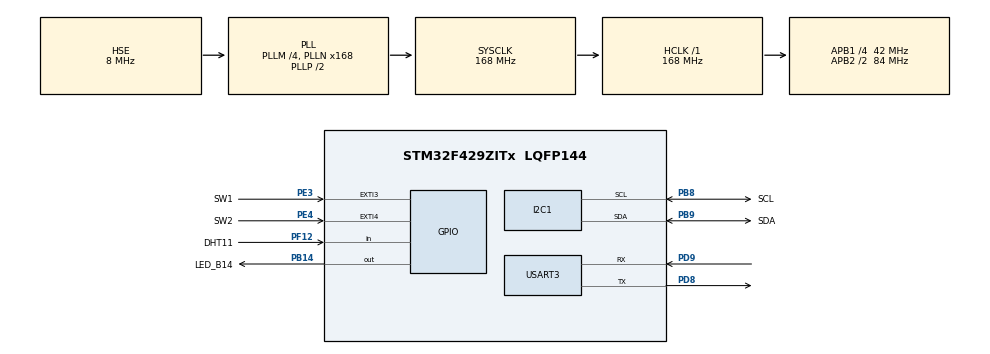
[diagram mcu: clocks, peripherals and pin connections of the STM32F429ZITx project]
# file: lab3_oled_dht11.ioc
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FREERTOS.Tasks01=defaultTask,24,128,StartDefaultTask,Default,NULL,Dynamic,NULL,NULL
I2C1.I2C_Mode=I2C_Fast
Mcu.Family=STM32F4
Mcu.Name=STM32F429ZITx
Mcu.Package=LQFP144
NVIC.EXTI3_IRQn=true\:5\:0\:false\:false\:true\:true\:true\:true\:true
NVIC.EXTI4_IRQn=true\:5\:0\:false\:false\:true\:true\:true\:true\:true
NVIC.PriorityGroup=NVIC_PRIORITYGROUP_4
NVIC.TIM1_UP_TIM10_IRQn=true\:15\:0\:false\:false\:true\:false\:false\:true\:true
NVIC.TimeBase=TIM1_UP_TIM10_IRQn
NVIC.TimeBaseIP=TIM1
PA13.Mode=Serial_Wire
PA13.Signal=SYS_JTMS-SWDIO
PA14.Mode=Serial_Wire
PA14.Signal=SYS_JTCK-SWCLK
PB14.GPIO_Label=LED_B14
PB14.Signal=GPIO_Output
PB8.GPIO_Label=SCL
PB8.Mode=I2C
PB8.Signal=I2C1_SCL
PB9.GPIO_Label=SDA
PB9.Mode=I2C
PB9.Signal=I2C1_SDA
PD8.Mode=Asynchronous
PD8.Signal=USART3_TX
PD9.Mode=Asynchronous
PD9.Signal=USART3_RX
PE3.GPIO_Label=SW1
PE3.Signal=GPXTI3
PE4.GPIO_Label=SW2
PE4.Signal=GPXTI4
PF12.GPIO_Label=DHT11
PF12.Signal=GPIO_Input
PH0/OSC_IN.Mode=HSE-External-Oscillator
PH0/OSC_IN.Signal=RCC_OSC_IN
PH1/OSC_OUT.Mode=HSE-External-Oscillator
PH1/OSC_OUT.Signal=RCC_OSC_OUT
ProjectManager.HeapSize=0x200
ProjectManager.StackSize=0x400
ProjectManager.TargetToolchain=MDK-ARM V5.32
RCC.48MHZClocksFreq_Value=48000000
RCC.AHBFreq_Value=168000000
RCC.APB1CLKDivider=RCC_HCLK_DIV4
RCC.APB1Freq_Value=42000000
RCC.APB1TimFreq_Value=84000000
RCC.APB2CLKDivider=RCC_HCLK_DIV2
RCC.APB2Freq_Value=84000000
RCC.APB2TimCLKDivider=2
RCC.APB2TimFreq_Value=168000000
RCC.CortexFreq_Value=168000000
RCC.HCLKFreq_Value=168000000
RCC.HSE_VALUE=8000000
RCC.HSI_VALUE=16000000
RCC.LSE_VALUE=32768
RCC.PLLM=4
RCC.PLLMUL=RCC_PLL_MUL9
RCC.PLLN=168
RCC.PLLQ=7
RCC.PLLSourceVirtual=RCC_PLLSOURCE_HSE
RCC.PRESCALERUSB=RCC_USBCLKSOURCE_PLL_DIV1_5
RCC.SYSCLKFreq_VALUE=168000000
RCC.SYSCLKSource=RCC_SYSCLKSOURCE_PLLCLK
RCC.SYSCLKSourceVirtual=RCC_SYSCLKSOURCE_PLLCLK
RCC.USBFreq_Value=48000000
RCC.VCOOutputFreq_Value=336000000
TIM2.Prescaler=83
USART3.VirtualMode=VM_ASYNC
VP_FREERTOS_VS_CMSIS_V2.Mode=CMSIS_V2
VP_SYS_VS_tim1.Mode=TIM1
VP_TIM2_VS_ClockSourceINT.Mode=Internal
board=NUCLEO-F429ZI

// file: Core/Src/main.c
/* USER CODE BEGIN Header */
/**
  ******************************************************************************
  * @file           : main.c
  * @brief          : Main program body
  ******************************************************************************
  * @attention
  *
  * Copyright (c) 2024 STMicroelectronics.
  * All rights reserved.
  *
  * This software is licensed under terms that can be found in the LICENSE file
  * in the root directory of this software component.
  * If no LICENSE file comes with this software, it is provided AS-IS.
  *
  ******************************************************************************
  */
/* USER CODE END Header */
#include "main.h"
#include "i2c.h"
#include "tim.h"
#include "usart.h"
#include "gpio.h"

/* USER CODE BEGIN Includes */
#include "FreeRTOS.h"
#include "queue.h"
#include "task.h"
#include "oled.h"
#include "u8g2.h"
#include "dht11.h"
#include "stdio.h"
/* USER CODE END Includes */

/* USER CODE BEGIN PV */
QueueHandle_t queueDHT11;

TaskHandle_t handleDHT11;
TaskHandle_t handleOLED;

u8g2_t u8g2;

struct dht11{
	float Temp;
	float Humi;
};

struct dht11 dht11DATA;
/* USER CODE END PV */

void SystemClock_Config(void);

/* USER CODE BEGIN 0 */
/**********************
receive data from queue
success -> pdPASS(1) -> update OLED
fail -> pdFAIL(0) -> taskYIELD();
**********************/
void taskOLED(void *pvParm){
	u8g2Init(&u8g2);
	u8g2_ClearBuffer(&u8g2);
	u8g2_ClearDisplay(&u8g2);
	u8g2_SetFont(&u8g2, u8g2_font_samim_16_t_all);
	char displayTemp[20];
	char displayHumi[20];
	while(1){

		BaseType_t dht11Receive = xQueueReceive(queueDHT11, &dht11DATA, NULL);
		if(dht11Receive == pdPASS){
			snprintf(displayTemp, sizeof(displayTemp), "Temp: %.1f C", dht11DATA.Temp);
			snprintf(displayHumi, sizeof(displayHumi), "Humi: %.1f %%", dht11DATA.Humi);
			u8g2_ClearBuffer(&u8g2);
			u8g2_DrawStr(&u8g2, 0, 20, displayTemp);
			u8g2_DrawStr(&u8g2, 0, 40, displayHumi);
			u8g2_SendBuffer(&u8g2);
			if(dht11DATA.Humi>=60){
				HAL_GPIO_WritePin(LED_PB7_GPIO_Port, LED_PB7_Pin, 1);
			}
			else{
				HAL_GPIO_WritePin(LED_PB7_GPIO_Port, LED_PB7_Pin, 0);
			}
		}else{
			taskYIELD();
		}

		vTaskDelay(100);
	}
}

/***************
return from DHT11GetData(&temp, &humi);
success -> 0
fail -> -1

run every 3s
***************/
void taskDHT11(void *pvParm){
	while(1){

		HAL_GPIO_WritePin(LED_B14_GPIO_Port, LED_B14_Pin, 1);
		if(DHT11GetData(&dht11DATA.Humi, &dht11DATA.Temp) == 0){
			xQueueSend(queueDHT11, &dht11DATA, NULL);
			printf("Temp:%.1f C\r\n", dht11DATA.Temp);
			printf("Humi:%.1f %%\r\n", dht11DATA.Humi);
		}

		HAL_GPIO_WritePin(LED_B14_GPIO_Port, LED_B14_Pin, 0);
		vTaskDelay(3000);
	}
}
/* USER CODE END 0 */

int main(void)
{

  /* MCU Configuration--------------------------------------------------------*/

  /* Reset of all peripherals, Initializes the Flash interface and the Systick. */
  HAL_Init();

  /* Configure the system clock */
  SystemClock_Config();

  /* Initialize all configured peripherals */
  MX_GPIO_Init();
  MX_TIM2_Init();
  MX_USART3_UART_Init();
  MX_I2C1_Init();
  /* USER CODE BEGIN 2 */
	queueDHT11 = xQueueCreate(3, sizeof(dht11DATA));
	/***********************
	memory allocate
	usStackDepth -> const uint16_t
	1word = 2bytes
	taskOLED -> 256 * 2 = 512 bytes = 0.5 kB
	taskDHT11 -> 128 * 2 = 256 bytes = 0.25 kB
	***********************/
	xTaskCreate(taskOLED, "OLED", 256, NULL, 1, &handleOLED);
	xTaskCreate(taskDHT11, "DHT11", 128, NULL, 2, &handleDHT11);
	printf("StartScheduler \r\n");
	vTaskStartScheduler();
  /* USER CODE END 2 */

  /* We should never get here as control is now taken by the scheduler */
  /* Infinite loop */
  while (1)
  {

  }
}

void SystemClock_Config(void)
{
  RCC_OscInitTypeDef RCC_OscInitStruct = {0};
  RCC_ClkInitTypeDef RCC_ClkInitStruct = {0};

  /** Configure the main internal regulator output voltage
  */
  __HAL_RCC_PWR_CLK_ENABLE();
  __HAL_PWR_VOLTAGESCALING_CONFIG(PWR_REGULATOR_VOLTAGE_SCALE1);

  /** Initializes the RCC Oscillators according to the specified parameters
  * in the RCC_OscInitTypeDef structure.
  */
  RCC_OscInitStruct.OscillatorType = RCC_OSCILLATORTYPE_HSE;
  RCC_OscInitStruct.HSEState = RCC_HSE_ON;
  RCC_OscInitStruct.PLL.PLLState = RCC_PLL_ON;
  RCC_OscInitStruct.PLL.PLLSource = RCC_PLLSOURCE_HSE;
  RCC_OscInitStruct.PLL.PLLM = 4;
  RCC_OscInitStruct.PLL.PLLN = 168;
  RCC_OscInitStruct.PLL.PLLP = RCC_PLLP_DIV2;
  RCC_OscInitStruct.PLL.PLLQ = 7;
  if (HAL_RCC_OscConfig(&RCC_OscInitStruct) != HAL_OK)
  {
    Error_Handler();
  }

  /** Initializes the CPU, AHB and APB buses clocks
  */
  RCC_ClkInitStruct.ClockType = RCC_CLOCKTYPE_HCLK|RCC_CLOCKTYPE_SYSCLK
                              |RCC_CLOCKTYPE_PCLK1|RCC_CLOCKTYPE_PCLK2;
  RCC_ClkInitStruct.SYSCLKSource = RCC_SYSCLKSOURCE_PLLCLK;
  RCC_ClkInitStruct.AHBCLKDivider = RCC_SYSCLK_DIV1;
  RCC_ClkInitStruct.APB1CLKDivider = RCC_HCLK_DIV4;
  RCC_ClkInitStruct.APB2CLKDivider = RCC_HCLK_DIV2;

  if (HAL_RCC_ClockConfig(&RCC_ClkInitStruct, FLASH_LATENCY_5) != HAL_OK)
  {
    Error_Handler();
  }
}

void HAL_TIM_PeriodElapsedCallback(TIM_HandleTypeDef *htim)
{
  if (htim->Instance == TIM1) {
    HAL_IncTick();
  }
}

void Error_Handler(void)
{
  __disable_irq();
  while (1)
  {
  }
}
